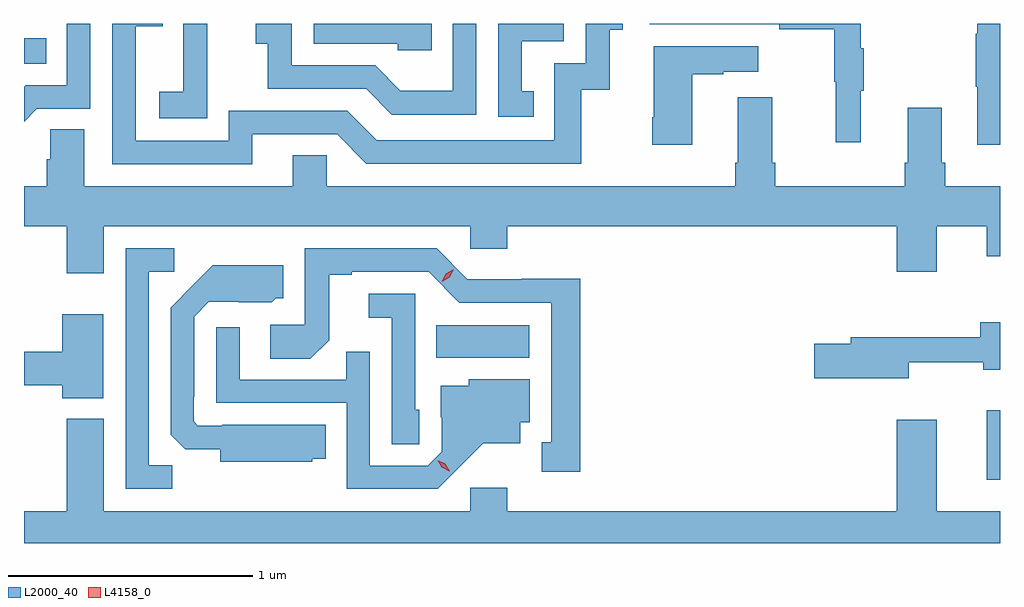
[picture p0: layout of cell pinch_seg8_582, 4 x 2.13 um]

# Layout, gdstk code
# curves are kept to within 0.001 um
import gdstk
lib = gdstk.Library(unit=1e-6, precision=1e-09)
def R(c, l, rs):  # rectangles x0, y0, x1, y1
    for r in rs: c.add(gdstk.rectangle(r[:2], r[2:], *l))
def P(c, l, *ps):  # polygons
    for p in ps: c.add(gdstk.Polygon(p, *l))
L2000_40 = (2000, 40)
L4158_0 = (4158, 0)

pinch_seg8_582 = lib.new_cell('pinch_seg8_582')
R(pinch_seg8_582, L2000_40, [(117.425,1082.16,117.479,1082.446), (115.168,1082.66,115.549,1082.794), (113.479,1083.866,113.57,1083.97)])
P(pinch_seg8_582, L2000_40, [(115.151,1084.029),(114.666,1084.029),(114.666,1083.948),(115.011,1083.948),(115.011,1083.921),(115.151,1083.921)],
  [(116.909,1083.755),(116.92,1083.755),(116.92,1083.929),(116.909,1083.929),(116.909,1084.029),(116.043,1084.029),(116.043,1084.026),(116.575,1084.026),(116.575,1084.006),(116.799,1084.006),(116.799,1083.792),(116.806,1083.792),(116.806,1083.543),(116.909,1083.543)],
  [(115.332,1084.029),(115.236,1084.029),(115.236,1083.754),(115.022,1083.754),(114.918,1083.858),(114.576,1083.858),(114.576,1084.029),(114.429,1084.029),(114.429,1083.947),(114.478,1083.947),(114.478,1083.762),(114.881,1083.762),(114.986,1083.657),(115.332,1083.657)],
  [(115.568,1083.753),(115.519,1083.753),(115.519,1083.957),(115.692,1083.957),(115.692,1084.029),(115.422,1084.029),(115.422,1083.648),(115.568,1083.648)],
  [(114.415,1083.576),(114.762,1083.576),(114.882,1083.456),(115.762,1083.456),(115.762,1083.759),(115.88,1083.759),(115.88,1084.005),(115.933,1084.005),(115.933,1084.029),(115.782,1084.029),(115.782,1083.867),(115.653,1083.867),(115.653,1083.552),(114.924,1083.552),(114.804,1083.672),(114.318,1083.672),(114.318,1083.549),(113.937,1083.549),(113.937,1084.018),(114.047,1084.018),(114.047,1084.029),(113.841,1084.029),(113.841,1083.453),(114.415,1083.453)],
  [(114.231,1083.847),(114.23,1083.847),(114.23,1084.029),(114.132,1084.029),(114.132,1083.98),(114.131,1083.98),(114.131,1083.751),(114.033,1083.751),(114.033,1083.641),(114.231,1083.641)],
  [(117.479,1084.029),(117.386,1084.029),(117.386,1083.989),(117.379,1083.989),(117.379,1083.771),(117.386,1083.771),(117.386,1083.534),(117.479,1083.534)],
  [(113.532,1083.681),(113.751,1083.681),(113.751,1084.029),(113.655,1084.029),(113.655,1083.777),(113.486,1083.777),(113.479,1083.77),(113.479,1083.628)],
  [(116.218,1083.823),(116.345,1083.823),(116.345,1083.833),(116.488,1083.833),(116.488,1083.937),(116.06,1083.937),(116.06,1083.646),(116.053,1083.646),(116.053,1083.534),(116.218,1083.534)],
  [(113.806,1083.2),(115.308,1083.2),(115.308,1083.107),(115.46,1083.107),(115.46,1083.2),(117.056,1083.2),(117.056,1083.012),(117.22,1083.012),(117.22,1083.2),(117.425,1083.2),(117.425,1083.076),(117.479,1083.076),(117.479,1083.364),(117.254,1083.364),(117.254,1083.46),(117.241,1083.46),(117.241,1083.685),(117.101,1083.685),(117.101,1083.46),(117.089,1083.46),(117.089,1083.364),(116.558,1083.364),(116.558,1083.46),(116.545,1083.46),(116.545,1083.727),(116.405,1083.727),(116.405,1083.46),(116.393,1083.46),(116.393,1083.364),(114.72,1083.364),(114.72,1083.491),(114.581,1083.491),(114.581,1083.364),(113.725,1083.364),(113.725,1083.596),(113.586,1083.596),(113.586,1083.473),(113.573,1083.473),(113.573,1083.364),(113.479,1083.364),(113.479,1083.2),(113.654,1083.2),(113.654,1083.006),(113.806,1083.006)],
  [(115.759,1082.984),(115.518,1082.984),(115.518,1082.982),(115.296,1082.982),(115.17,1083.108),(114.63,1083.108),(114.63,1082.796),(114.489,1082.796),(114.489,1082.656),(114.653,1082.656),(114.729,1082.732),(114.729,1083),(114.823,1083),(114.823,1083.012),(115.137,1083.012),(115.263,1082.886),(115.64,1082.886),(115.64,1082.313),(115.601,1082.313),(115.601,1082.193),(115.759,1082.193)],
  [(114.087,1082.219),(113.991,1082.219),(113.991,1083.012),(114.094,1083.012),(114.094,1083.108),(113.895,1083.108),(113.895,1082.124),(114.087,1082.124)],
  [(114.66,1082.246),(114.716,1082.246),(114.716,1082.386),(114.292,1082.386),(114.292,1082.382),(114.192,1082.382),(114.174,1082.4),(114.174,1082.5),(114.177,1082.5),(114.177,1082.829),(114.237,1082.889),(114.494,1082.888),(114.51,1082.904),(114.541,1082.904),(114.541,1083.04),(114.253,1083.04),(114.081,1082.866),(114.081,1082.344),(114.14,1082.285),(114.284,1082.285),(114.284,1082.234),(114.66,1082.234)],
  [(115.098,1082.448),(115.083,1082.448),(115.083,1082.922),(114.891,1082.922),(114.891,1082.825),(114.987,1082.825),(114.987,1082.305),(115.098,1082.305)],
  [(113.803,1082.839),(113.636,1082.839),(113.636,1082.684),(113.479,1082.684),(113.479,1082.548),(113.636,1082.548),(113.636,1082.495),(113.803,1082.495)],
  [(117.106,1082.641),(117.41,1082.641),(117.41,1082.612),(117.479,1082.612),(117.479,1082.806),(117.398,1082.806),(117.398,1082.744),(116.867,1082.744),(116.867,1082.718),(116.718,1082.718),(116.718,1082.576),(117.106,1082.576)],
  [(115.258,1082.207),(115.361,1082.309),(115.513,1082.309),(115.513,1082.396),(115.552,1082.396),(115.552,1082.572),(115.302,1082.572),(115.302,1082.545),(115.187,1082.545),(115.187,1082.416),(115.191,1082.416),(115.191,1082.274),(115.134,1082.217),(114.897,1082.217),(114.897,1082.684),(114.799,1082.684),(114.799,1082.571),(114.363,1082.571),(114.363,1082.785),(114.267,1082.785),(114.267,1082.475),(114.801,1082.475),(114.801,1082.124),(115.174,1082.124)],
  [(117.479,1082.032),(117.22,1082.032),(117.22,1082.407),(117.056,1082.407),(117.056,1082.032),(115.46,1082.032),(115.46,1082.128),(115.308,1082.128),(115.308,1082.032),(113.806,1082.032),(113.806,1082.41),(113.654,1082.41),(113.654,1082.032),(113.479,1082.032),(113.479,1081.9),(117.479,1081.9)])
P(pinch_seg8_582, L4158_0, [(115.191,1082.971),(115.191,1082.972),(115.208,1083.004),(115.24,1083.023),(115.241,1083.023),(115.241,1083.023),(115.223,1082.99),(115.191,1082.971)],
  [(115.222,1082.196),(115.192,1082.211),(115.174,1082.241),(115.174,1082.241),(115.175,1082.241),(115.205,1082.226),(115.223,1082.196),(115.223,1082.196)])

lib.write_gds('pinch_seg8_582.gds')
